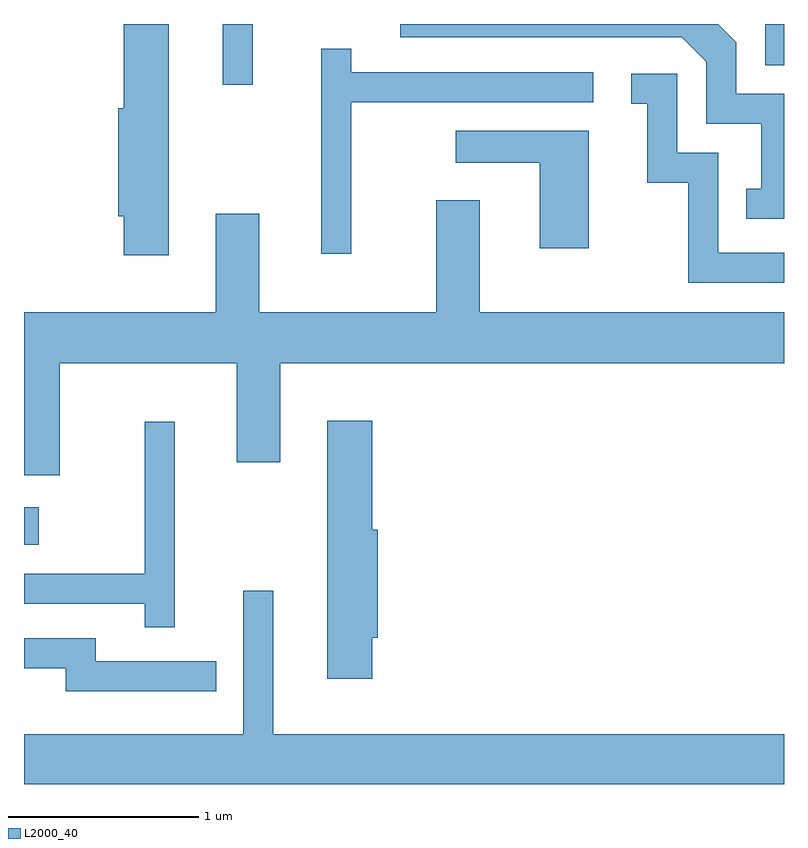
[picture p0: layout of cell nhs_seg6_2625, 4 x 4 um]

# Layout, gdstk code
import gdstk
lib = gdstk.Library(unit=1e-6, precision=1e-09)
def R(c, l, rs):  # rectangles x0, y0, x1, y1
    for r in rs: c.add(gdstk.rectangle(r[:2], r[2:], *l))
def P(c, l, *ps):  # polygons
    for p in ps: c.add(gdstk.Polygon(p, *l))
L2000_40 = (2000, 40)

nhs_seg6_2625 = lib.new_cell('nhs_seg6_2625')
R(nhs_seg6_2625, L2000_40, [(263.611,1653.421,263.689,1653.619), (264.656,1655.843,264.814,1656.162), (267.511,1655.946,267.611,1656.162)])
P(nhs_seg6_2625, L2000_40, [(267.611,1655.794),(267.359,1655.794),(267.359,1656.067),(267.264,1656.162),(265.591,1656.162),(265.591,1656.091),(267.074,1656.091),(267.201,1655.964),(267.201,1655.636),(267.491,1655.636),(267.491,1655.294),(267.413,1655.294),(267.413,1655.136),(267.611,1655.136)],
  [(264.374,1656.162),(264.136,1656.162),(264.136,1655.719),(264.106,1655.719),(264.106,1655.151),(264.136,1655.151),(264.136,1654.946),(264.374,1654.946)],
  [(265.334,1655.751),(266.608,1655.751),(266.608,1655.909),(265.334,1655.909),(265.334,1656.033),(265.176,1656.033),(265.176,1654.953),(265.334,1654.953)],
  [(267.611,1654.959),(267.264,1654.959),(267.264,1655.484),(267.049,1655.484),(267.049,1655.899),(266.808,1655.899),(266.808,1655.741),(266.891,1655.741),(266.891,1655.326),(267.106,1655.326),(267.106,1654.801),(267.611,1654.801)],
  [(266.584,1655.599),(265.883,1655.599),(265.883,1655.431),(266.326,1655.431),(266.326,1654.981),(266.584,1654.981)],
  [(263.799,1654.376),(264.731,1654.376),(264.731,1653.856),(264.959,1653.856),(264.959,1654.376),(267.611,1654.376),(267.611,1654.644),(266.009,1654.644),(266.009,1655.234),(265.781,1655.234),(265.781,1654.644),(264.849,1654.644),(264.849,1655.164),(264.621,1655.164),(264.621,1654.644),(263.611,1654.644),(263.611,1653.786),(263.799,1653.786)],
  [(265.444,1652.931),(265.474,1652.931),(265.474,1653.499),(265.444,1653.499),(265.444,1654.074),(265.206,1654.074),(265.206,1652.716),(265.444,1652.716)],
  [(264.404,1654.068),(264.246,1654.068),(264.246,1653.269),(263.611,1653.269),(263.611,1653.111),(264.246,1653.111),(264.246,1652.988),(264.404,1652.988)],
  [(267.611,1652.424),(264.924,1652.424),(264.924,1653.178),(264.766,1653.178),(264.766,1652.424),(263.611,1652.424),(263.611,1652.162),(267.611,1652.162)],
  [(264.623,1652.809),(263.989,1652.809),(263.989,1652.929),(263.611,1652.929),(263.611,1652.771),(263.831,1652.771),(263.831,1652.651),(264.623,1652.651)])

lib.write_gds('nhs_seg6_2625.gds')
